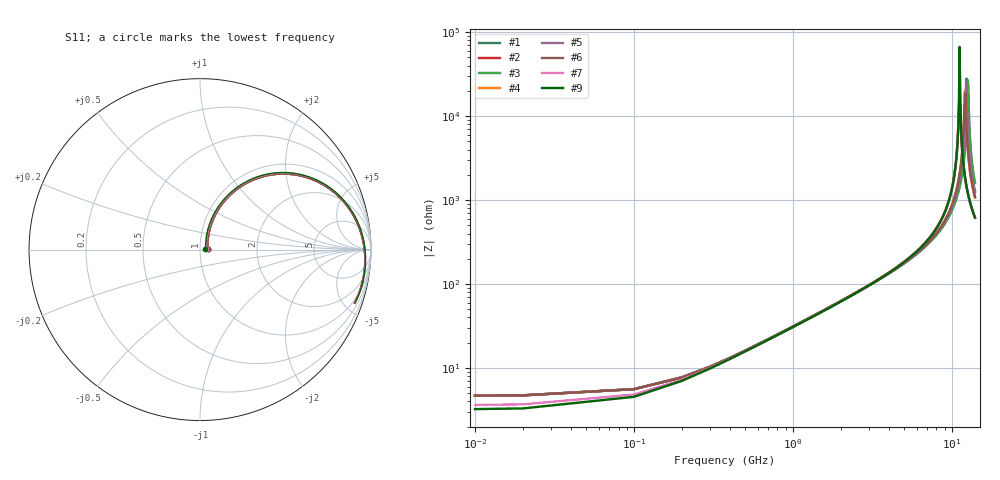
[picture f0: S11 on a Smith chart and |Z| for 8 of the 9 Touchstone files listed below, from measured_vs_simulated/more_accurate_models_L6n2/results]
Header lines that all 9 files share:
#  GHZ S DB R 50.0
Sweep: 10 MHz to 14 GHz
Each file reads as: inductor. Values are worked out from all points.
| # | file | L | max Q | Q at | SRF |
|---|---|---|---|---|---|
| 1 | L6n2_with_ports_1um_passi3D.s2p | 4.86 nH | 30.7 | 8.2 GHz | 12.3 GHz |
| 2 | L6n2_with_ports_2um_mergecorrection_filled.s2p | 4.86 nH | 24.7 | 6.9 GHz | 11.1 GHz |
| 3 | L6n2_with_ports_2um_passicut.s2p | 4.86 nH | 30.6 | 8.4 GHz | 12.6 GHz |
| 4 | L6n2_with_ports_5um_passi3D.s2p | 4.86 nH | 25.4 | 7.4 GHz | 12.1 GHz |
| 5 | L6n2_with_ports_passi3D_2um.s2p | 4.86 nH | 29.1 | 8 GHz | 12.3 GHz |
| 6 | L6n2_with_ports_passi3D_5um.s2p | 4.85 nH | 25.5 | 7.5 GHz | 12.1 GHz |
| 7 | L6n2_with_ports_surfacemesh_2um_mergecorrection.s2p | 4.85 nH | 50.3 | 8.3 GHz | 11.2 GHz |
| 8 | L6n2_with_ports_surfacemesh_2um_noviamerge.s2p | 4.85 nH | 50.4 | 8.3 GHz | 11.2 GHz |
| 9 | L6n2_with_ports_surfacemesh_2um_viamerge.s2p | 4.85 nH | 58.5 | 8.5 GHz | 11.2 GHz |
